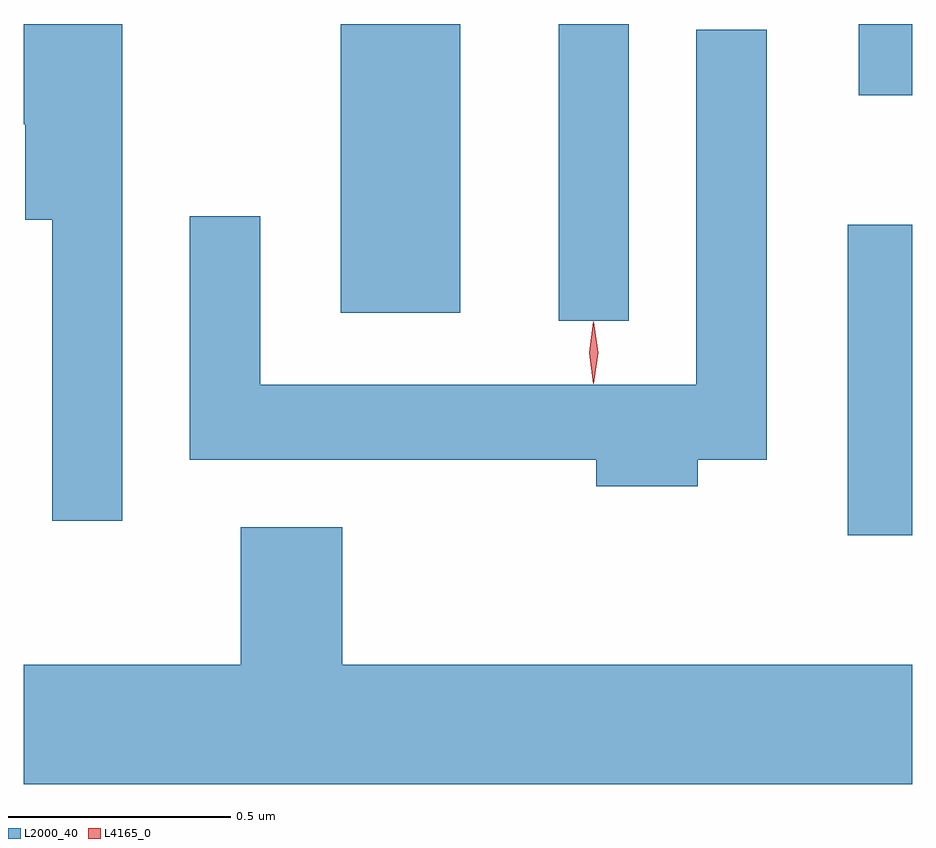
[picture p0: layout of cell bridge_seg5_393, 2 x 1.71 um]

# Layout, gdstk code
import gdstk
lib = gdstk.Library(unit=1e-6, precision=1e-09)
def R(c, l, rs):  # rectangles x0, y0, x1, y1
    for r in rs: c.add(gdstk.rectangle(r[:2], r[2:], *l))
def P(c, l, *ps):  # polygons
    for p in ps: c.add(gdstk.Polygon(p, *l))
L2000_40 = (2000, 40)
L4165_0 = (4165, 0)

bridge_seg5_393 = lib.new_cell('bridge_seg5_393')
R(bridge_seg5_393, L2000_40, [(553.846,1521.736,553.992,1522.434), (553.196,1522.218,553.354,1522.886), (552.706,1522.236,552.974,1522.886), (553.871,1522.726,553.992,1522.886)])
P(bridge_seg5_393, L2000_40, [(552.214,1522.886),(551.992,1522.886),(551.992,1522.661),(551.996,1522.661),(551.996,1522.446),(552.056,1522.446),(552.056,1521.768),(552.214,1521.768)],
  [(553.509,1521.906),(553.664,1521.906),(553.664,1522.873),(553.506,1522.873),(553.506,1522.074),(552.524,1522.074),(552.524,1522.453),(552.366,1522.453),(552.366,1521.906),(553.281,1521.906),(553.281,1521.846),(553.509,1521.846)],
  [(553.992,1521.444),(552.709,1521.444),(552.709,1521.754),(552.481,1521.754),(552.481,1521.444),(551.992,1521.444),(551.992,1521.176),(553.992,1521.176)])
P(bridge_seg5_393, L4165_0, [(553.275,1522.079),(553.274,1522.08),(553.265,1522.146),(553.274,1522.212),(553.275,1522.213),(553.275,1522.212),(553.285,1522.146),(553.275,1522.08)],
  [(553.274,1522.077),(553.265,1522.146),(553.274,1522.216),(553.275,1522.216),(553.275,1522.216),(553.285,1522.146),(553.275,1522.077),(553.275,1522.077)])

lib.write_gds('bridge_seg5_393.gds')
